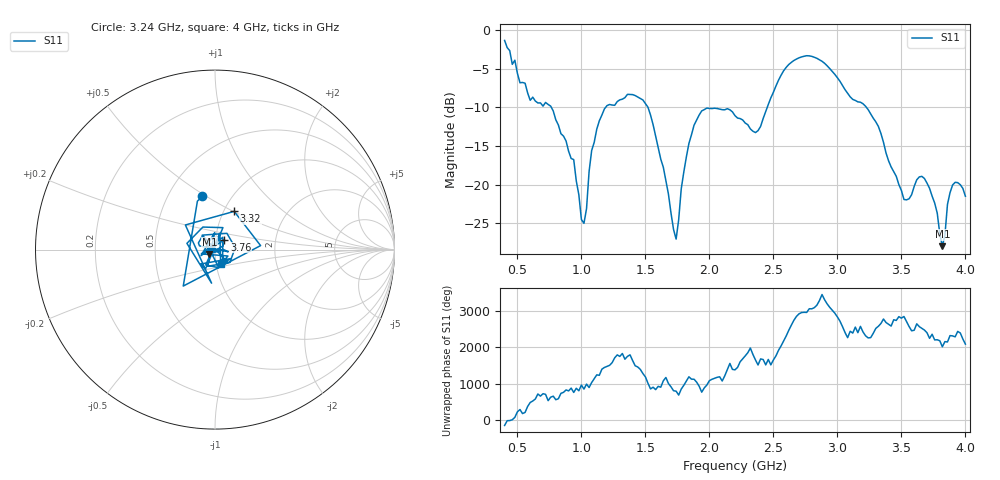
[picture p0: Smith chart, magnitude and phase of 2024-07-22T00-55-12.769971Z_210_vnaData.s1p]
!Created with skrf (http://scikit-rf.org).
# Hz S RI R 50.0
!freq ReS11 ImS11
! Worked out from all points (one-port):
!   181 points, 400 MHz to 4 GHz, reference 50 ohm
!   lowest |S11| = -28.0 dB at 3.82 GHz (marker M1), VSWR 1.08, Z = 46.9 - j2.35 ohm
!   |S11| at or under -10 dB: 765.1 MHz to 1.189 GHz (424 MHz wide, 43.4 % of centre); 1.52 GHz to 2.452 GHz (931.3 MHz wide, 46.9 % of centre); 3.227 GHz to end of sweep
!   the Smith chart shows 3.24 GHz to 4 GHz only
!   S11 on the Smith chart (normalised r, x): 3.24 GHz: 0.73, +0.48; 3.32 GHz: 1.12, +0.51; 3.76 GHz: 1.10, +0.12; 4 GHz: 1.05, -0.17
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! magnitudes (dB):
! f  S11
! 400 MHz  -1.3
! 600 MHz  -9.1
! 760 MHz  -9.8
! 860 MHz  -13.7
! 940 MHz  -16.8
! 1.02 GHz  -25.0
! 1.08 GHz  -15.6
! 1.12 GHz  -12.8
! 1.3 GHz  -9.0
! 1.52 GHz  -10.0
! 1.74 GHz  -27.0
! 1.76 GHz  -24.5
! 1.84 GHz  -14.7
! 1.92 GHz  -11.0
! 2.2 GHz  -11.1
! 2.38 GHz  -13.0
! 2.66 GHz  -3.9
! 2.88 GHz  -4.0
! 3.1 GHz  -8.6
! 3.24 GHz  -10.3
! 3.32 GHz  -12.5
! 3.52 GHz  -21.9
! 3.56 GHz  -21.8
! 3.66 GHz  -18.9
! 3.76 GHz  -22.4
! 3.82 GHz  -28.0
! 3.9 GHz  -20.0
! 4 GHz  -21.5
